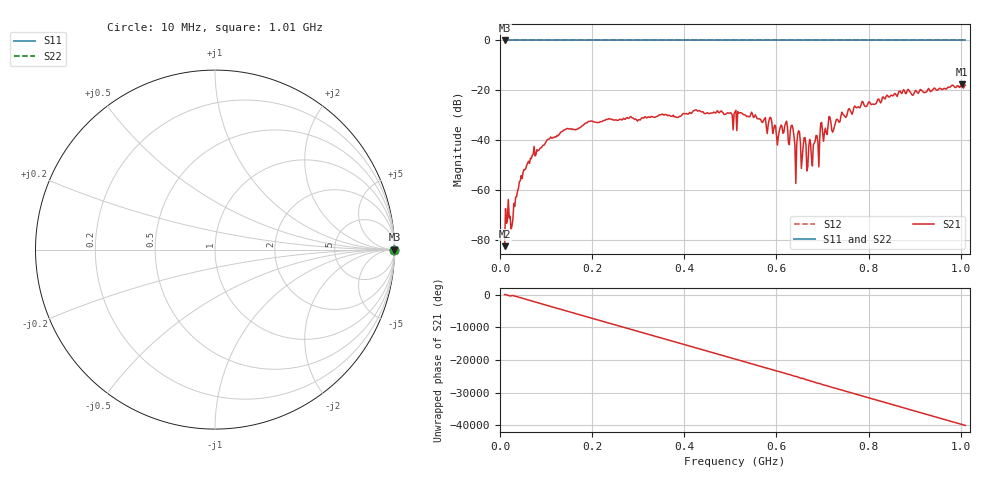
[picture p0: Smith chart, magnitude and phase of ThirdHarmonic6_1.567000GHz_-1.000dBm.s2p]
! 8/16/2025 6:37:51 PM
! C:\ANRITSUVNA\TEMP\TEMP.S2P
! CHANNEL.1
! TR.MEASUREMENT
! RAW.DATA
! RF.CORRECTION.OFF
! AVERAGING.OFF
! IF.BANDWIDTH: 5KHZ
! SWEEPTYPE:  FREQ.SWEEP(Linear)
! Reference Plane Port Info
! PORT:  PORT1  PORT2
! DISTANCE:  0  m  0  m
! TIME:  0  s  0  s
! PHASE.OFFSET:  0  deg.  0  deg.
! LOSS:  0  dB  0  dB
! REF.LOSS:  0  dB  0  dB
! REF.FREQ:  0  Hz  0  Hz
! Power Info
! POWER:  -20  dBm  -20  dBm
! EFF.POWER:  -20  dBm  -20  dBm
! SOURCE.ATTEN:  0  dB  0  dB
! TEST.ATTEN:  0  dB  0  dB
# GHZ S RI R 50.0
! FREQ.GHZ  S11RE  S11IM  S21RE  S21IM  S12RE  S12IM  S22RE  S22IM
!; PortSelection: Port_12
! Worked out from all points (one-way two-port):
!   501 points, 10 MHz to 1.01 GHz, reference 50 ohm
!   highest |S21| = -17.62 dB at 1.002 GHz (marker M1); lowest = -82.6 dB at 10 MHz (marker M2)
!   lowest |S11| = 0.0 dB at 10 MHz (marker M3)
!   |S11| at or under -10 dB: nowhere
!   |S22| runs from 0.0 to 0.0 dB; largest |S21 - S12| = 1.1
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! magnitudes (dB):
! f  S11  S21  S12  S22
! 10 MHz  0.0  -82.6  0.0  0.0
! 16 MHz  0.0  -72.3  0.0  0.0
! 28 MHz  0.0  -71.9  0.0  0.0
! 42 MHz  0.0  -56.7  0.0  0.0
! 70 MHz  0.0  -46.1  0.0  0.0
! 178 MHz  0.0  -34.3  0.0  0.0
! 344 MHz  0.0  -30.2  0.0  0.0
! 510 MHz  0.0  -28.7  0.0  0.0
! 586 MHz  0.0  -30.9  0.0  0.0
! 604 MHz  0.0  -38.6  0.0  0.0
! 620 MHz  0.0  -33.2  0.0  0.0
! 634 MHz  0.0  -34.1  0.0  0.0
! 642 MHz  0.0  -57.5  0.0  0.0
! 648 MHz  0.0  -36.3  0.0  0.0
! 656 MHz  0.0  -46.6  0.0  0.0
! 678 MHz  0.0  -50.4  0.0  0.0
! 716 MHz  0.0  -30.8  0.0  0.0
! 724 MHz  0.0  -35.8  0.0  0.0
! 758 MHz  0.0  -27.4  0.0  0.0
! 844 MHz  0.0  -22.7  0.0  0.0
! 1.002 GHz  0.0  -17.6  0.0  0.0
! 1.01 GHz  0.0  -18.0  0.0  0.0
